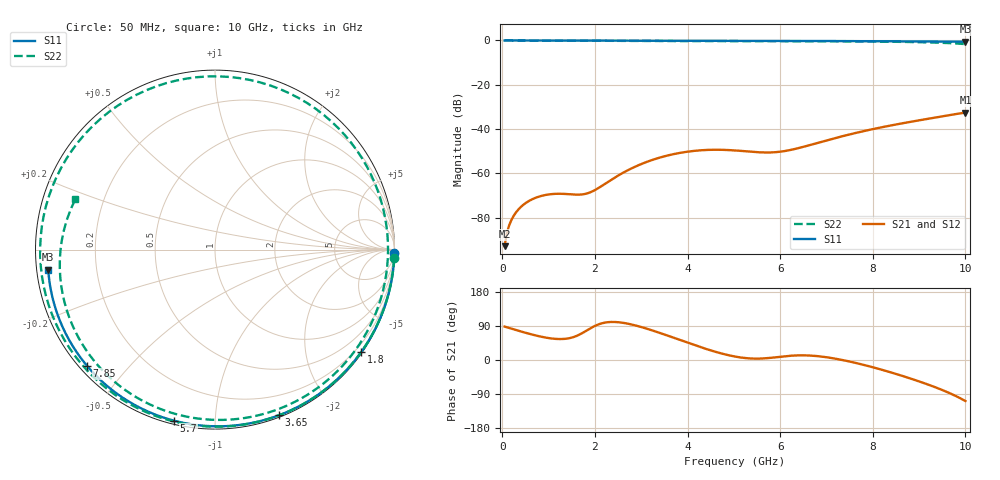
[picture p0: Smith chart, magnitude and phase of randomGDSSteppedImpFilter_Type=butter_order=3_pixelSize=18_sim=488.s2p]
! freq	dB(S11)	phase(S11)	dB(S12)	phase(S12)
!  dB(S21)	phase(S21)	dB(S22)	phase(S22)
!S-par simulation data
#  GHz  S  DB  R 50
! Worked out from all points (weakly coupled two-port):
!   200 points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, 50 MHz to 10 GHz, reference 50 ohm
!   highest |S21| = -32.54 dB at 10 GHz (marker M1); lowest = -92.8 dB at 50 MHz (marker M2)
!   lowest |S11| = -0.6 dB at 10 GHz (marker M3), VSWR 30.15, Z = 1.66 - j2.97 ohm
!   |S11| at or under -10 dB: nowhere
!   |S22| runs from -1.6 to 0.0 dB; largest |S21 - S12| = 0
!   S11 on the Smith chart (normalised r, x): 50 MHz: open; 1.8 GHz: 0.03, -3.18; 3.65 GHz: 0.02, -1.46; 5.7 GHz: 0.02, -0.79; 7.85 GHz: 0.02, -0.39; 10 GHz: 0.03, -0.06
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0.05  -0.00 -1.0  -92.78 88.2  -92.78 88.2  -0.00 -2.8
0.2  -0.01 -4.0  -80.83 82.6  -80.83 82.6  -0.02 -11.2
0.5  -0.01 -9.8  -73.41 71.9  -73.41 71.9  -0.04 -27.9
1  -0.02 -19.6  -69.46 57.9  -69.46 57.9  -0.07 -55.9
1.75  -0.04 -34.0  -69.37 72.5  -69.37 72.5  -0.13 -98.4
1.8  -0.04 -34.9  -69.16 76.2  -69.16 76.2  -0.13 -101.3
2.25  -0.06 -43.4  -64.23 99.3  -64.23 99.3  -0.16 -127.7
2.7  -0.07 -51.7  -58.64 96.1  -58.64 96.1  -0.20 -155.3
3.05  -0.08 -58.1  -55.33 85.3  -55.33 85.3  -0.22 -177.7
3.4  -0.09 -64.4  -52.83 71.5  -52.83 71.5  -0.25 158.9
3.65  -0.09 -68.8  -51.49 60.9  -51.49 60.9  -0.27 141.7
4  -0.10 -74.9  -50.17 45.8  -50.17 45.8  -0.29 117.0
4.35  -0.12 -81.0  -49.45 31.2  -49.45 31.2  -0.30 92.2
5.05  -0.14 -92.8  -49.65 8.5  -49.65 8.5  -0.31 44.5
5.7  -0.17 -103.5  -50.54 4.7  -50.54 4.7  -0.32 5.1
6.15  -0.20 -110.8  -49.69 10.5  -49.69 10.5  -0.32 -18.8
6.7  -0.23 -119.5  -46.84 11.3  -46.84 11.3  -0.35 -44.8
7.25  -0.27 -128.3  -43.70 2.2  -43.70 2.2  -0.39 -68.0
7.85  -0.33 -137.8  -40.68 -14.3  -40.68 -14.3  -0.46 -91.4
8.35  -0.37 -145.8  -38.50 -31.2  -38.50 -31.2  -0.56 -110.7
9.4  -0.50 -162.9  -34.59 -74.3  -34.59 -74.3  -0.99 -157.8
10  -0.58 -173.2  -32.54 -108.2  -32.54 -108.2  -1.65 160.1
